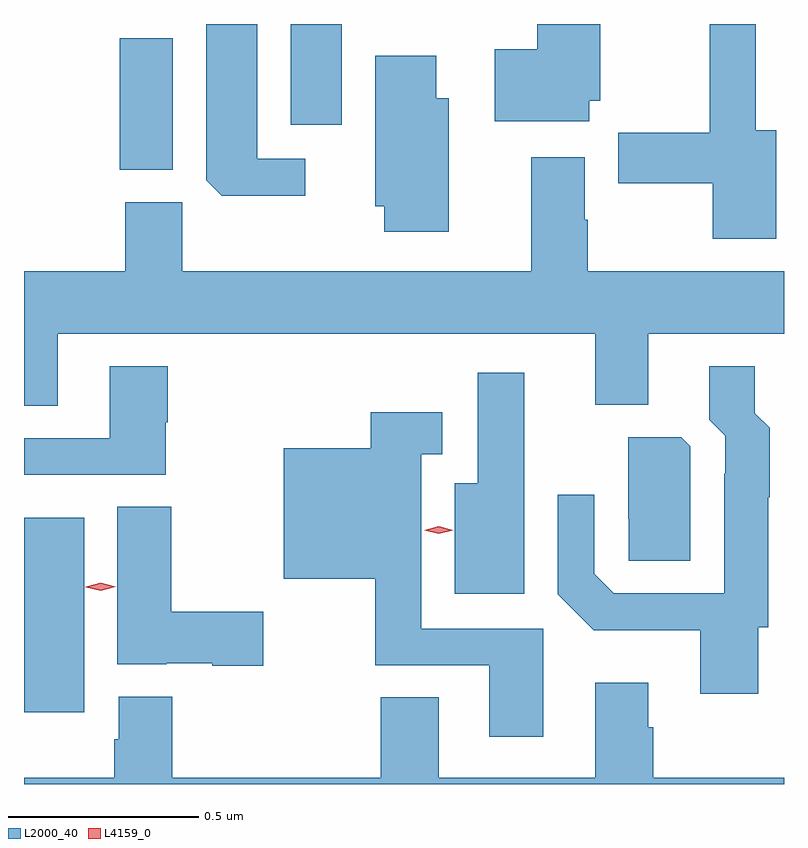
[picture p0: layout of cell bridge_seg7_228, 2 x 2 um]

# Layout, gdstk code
import gdstk
lib = gdstk.Library(unit=1e-6, precision=1e-09)
def R(c, l, rs):  # rectangles x0, y0, x1, y1
    for r in rs: c.add(gdstk.rectangle(r[:2], r[2:], *l))
def P(c, l, *ps):  # polygons
    for p in ps: c.add(gdstk.Polygon(p, *l))
L2000_40 = (2000, 40)
L4159_0 = (4159, 0)

bridge_seg7_228 = lib.new_cell('bridge_seg7_228')
R(bridge_seg7_228, L2000_40, [(350.918,1004.948,351.076,1005.46), (351.17,1006.375,351.31,1006.721), (351.62,1006.494,351.754,1006.759)])
P(bridge_seg7_228, L2000_40, [(352.897,1006.48),(352.843,1006.48),(352.843,1006.759),(352.723,1006.759),(352.723,1006.473),(352.482,1006.473),(352.482,1006.34),(352.73,1006.34),(352.73,1006.194),(352.897,1006.194)],
  [(352.406,1006.557),(352.434,1006.557),(352.434,1006.759),(352.268,1006.759),(352.268,1006.693),(352.157,1006.693),(352.157,1006.503),(352.406,1006.503)],
  [(351.658,1006.404),(351.532,1006.404),(351.532,1006.759),(351.398,1006.759),(351.398,1006.348),(351.439,1006.307),(351.658,1006.307)],
  [(352.036,1006.564),(352.003,1006.564),(352.003,1006.675),(351.842,1006.675),(351.842,1006.28),(351.866,1006.28),(351.866,1006.212),(352.036,1006.212)],
  [(351.007,1005.944),(352.421,1005.944),(352.421,1005.757),(352.561,1005.757),(352.561,1005.944),(352.918,1005.944),(352.918,1006.108),(352.401,1006.108),(352.401,1006.244),(352.393,1006.244),(352.393,1006.408),(352.253,1006.408),(352.253,1006.108),(351.335,1006.108),(351.335,1006.29),(351.185,1006.29),(351.185,1006.108),(350.918,1006.108),(350.918,1005.754),(351.007,1005.754)],
  [(351.291,1005.711),(351.296,1005.711),(351.296,1005.859),(351.143,1005.859),(351.143,1005.669),(350.918,1005.669),(350.918,1005.573),(351.291,1005.573)],
  [(352.85,1005.171),(352.877,1005.171),(352.877,1005.514),(352.88,1005.514),(352.88,1005.696),(352.841,1005.735),(352.841,1005.859),(352.721,1005.859),(352.721,1005.718),(352.764,1005.675),(352.764,1005.575),(352.761,1005.575),(352.761,1005.261),(352.47,1005.261),(352.419,1005.312),(352.419,1005.52),(352.323,1005.52),(352.323,1005.258),(352.417,1005.164),(352.697,1005.164),(352.697,1004.997),(352.85,1004.997)],
  [(352.234,1005.841),(352.112,1005.841),(352.112,1005.55),(352.052,1005.55),(352.052,1005.26),(352.234,1005.26)],
  [(352.285,1005.168),(351.964,1005.168),(351.964,1005.627),(352.018,1005.627),(352.018,1005.737),(351.83,1005.737),(351.83,1005.643),(351.602,1005.643),(351.602,1005.299),(351.842,1005.299),(351.842,1005.072),(352.142,1005.072),(352.142,1004.883),(352.285,1004.883)],
  [(352.671,1005.648),(352.647,1005.672),(352.508,1005.672),(352.508,1005.457),(352.509,1005.457),(352.509,1005.346),(352.671,1005.346)],
  [(351.547,1005.212),(351.306,1005.212),(351.306,1005.488),(351.164,1005.488),(351.164,1005.074),(351.294,1005.074),(351.294,1005.077),(351.414,1005.077),(351.414,1005.07),(351.547,1005.07)],
  [(352.918,1004.776),(352.574,1004.776),(352.574,1004.909),(352.561,1004.909),(352.561,1005.025),(352.421,1005.025),(352.421,1004.776),(352.009,1004.776),(352.009,1004.987),(351.857,1004.987),(351.857,1004.776),(351.308,1004.776),(351.308,1004.989),(351.167,1004.989),(351.167,1004.877),(351.155,1004.877),(351.155,1004.776),(350.918,1004.776),(350.918,1004.759),(352.918,1004.759)])
P(bridge_seg7_228, L4159_0, [(352.009,1005.417),(351.971,1005.427),(351.971,1005.427),(351.971,1005.427),(352.009,1005.437),(352.047,1005.427),(352.047,1005.427),(352.047,1005.427)],
  [(351.12,1005.268),(351.08,1005.277),(351.08,1005.278),(351.08,1005.278),(351.12,1005.288),(351.16,1005.278),(351.16,1005.278),(351.16,1005.278)])

lib.write_gds('bridge_seg7_228.gds')
